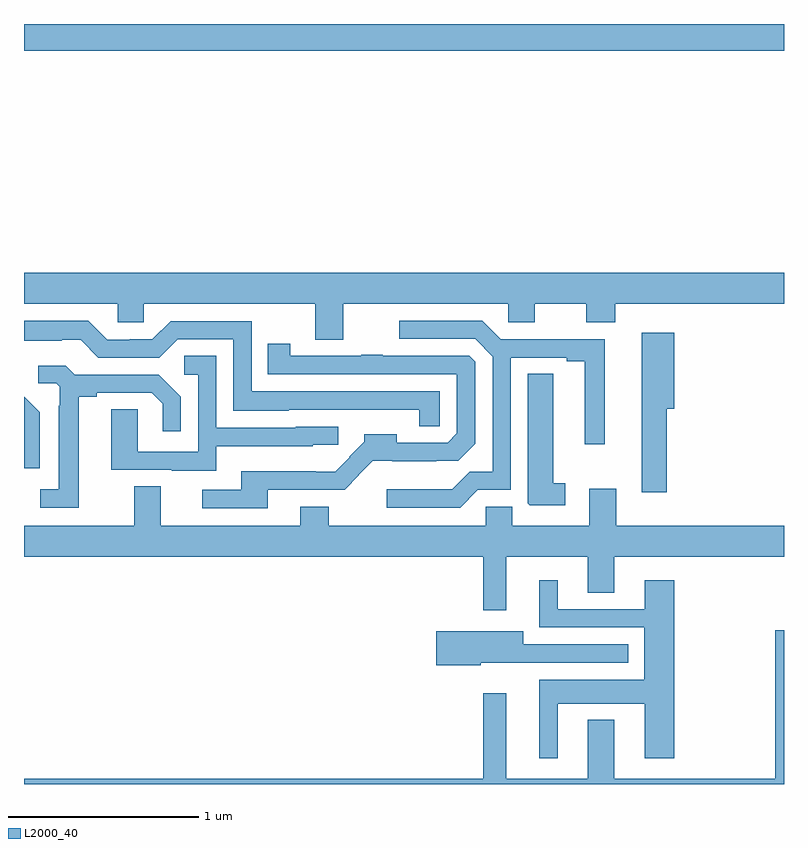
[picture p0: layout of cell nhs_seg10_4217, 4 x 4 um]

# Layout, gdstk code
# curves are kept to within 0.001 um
import gdstk
lib = gdstk.Library(unit=1e-6, precision=1e-09)
def R(c, l, rs):  # rectangles x0, y0, x1, y1
    for r in rs: c.add(gdstk.rectangle(r[:2], r[2:], *l))
def P(c, l, *ps):  # polygons
    for p in ps: c.add(gdstk.Polygon(p, *l))
L2000_40 = (2000, 40)

nhs_seg10_4217 = lib.new_cell('nhs_seg10_4217')
R(nhs_seg10_4217, L2000_40, [(347,1256.36,351,1256.5)])
P(nhs_seg10_4217, L2000_40, [(348.679,1255.028),(349.548,1255.028),(349.548,1254.93),(349.687,1254.93),(349.687,1255.028),(349.958,1255.028),(349.958,1254.929),(350.111,1254.929),(350.111,1255.028),(351,1255.028),(351,1255.192),(347,1255.192),(347,1255.028),(347.493,1255.028),(347.493,1254.93),(347.631,1254.93),(347.631,1255.028),(348.532,1255.028),(348.532,1254.838),(348.679,1254.838)],
  [(349.389,1254.048),(349.563,1254.048),(349.563,1254.744),(349.856,1254.744),(349.856,1254.724),(349.952,1254.724),(349.952,1254.288),(350.056,1254.288),(350.056,1254.84),(349.51,1254.84),(349.411,1254.939),(348.975,1254.939),(348.975,1254.843),(349.374,1254.843),(349.467,1254.75),(349.467,1254.143),(349.346,1254.143),(349.255,1254.052),(348.909,1254.052),(348.909,1253.955),(349.296,1253.955)],
  [(349.188,1254.567),(348.198,1254.567),(348.198,1254.936),(347.772,1254.936),(347.676,1254.84),(347.556,1254.84),(347.556,1254.837),(347.439,1254.837),(347.339,1254.937),(347,1254.937),(347,1254.833),(347.198,1254.833),(347.198,1254.837),(347.298,1254.837),(347.391,1254.744),(347.712,1254.744),(347.808,1254.84),(348.102,1254.84),(348.102,1254.464),(348.393,1254.464),(348.393,1254.471),(349.08,1254.47),(349.08,1254.382),(349.188,1254.382)],
  [(350.384,1254.476),(350.423,1254.476),(350.423,1254.874),(350.252,1254.874),(350.252,1254.036),(350.384,1254.036)],
  [(348.283,1254.048),(348.687,1254.048),(348.763,1254.125),(348.761,1254.127),(348.835,1254.201),(349.169,1254.2),(349.169,1254.202),(349.285,1254.202),(349.374,1254.291),(349.374,1254.723),(349.344,1254.753),(348.887,1254.753),(348.887,1254.758),(348.775,1254.758),(348.775,1254.753),(348.402,1254.753),(348.402,1254.817),(348.283,1254.817),(348.283,1254.657),(349.278,1254.657),(349.278,1254.345),(349.23,1254.297),(348.961,1254.297),(348.961,1254.34),(348.79,1254.34),(348.79,1254.301),(348.711,1254.222),(348.714,1254.219),(348.638,1254.143),(348.536,1254.143),(348.536,1254.145),(348.143,1254.145),(348.143,1254.048),(347.937,1254.048),(347.937,1253.952),(348.283,1253.952)],
  [(348.013,1254.278),(348.519,1254.278),(348.519,1254.285),(348.654,1254.285),(348.654,1254.381),(348.429,1254.381),(348.429,1254.375),(348.012,1254.375),(348.012,1254.755),(347.844,1254.755),(347.844,1254.654),(347.916,1254.654),(347.916,1254.249),(347.598,1254.249),(347.598,1254.473),(347.459,1254.473),(347.459,1254.153),(347.777,1254.153),(347.777,1254.149),(348.013,1254.149)],
  [(347.287,1254.538),(347.383,1254.538),(347.383,1254.558),(347.672,1254.558),(347.729,1254.501),(347.729,1254.357),(347.826,1254.357),(347.826,1254.538),(347.71,1254.654),(347.268,1254.654),(347.22,1254.701),(347.074,1254.701),(347.074,1254.609),(347.169,1254.609),(347.187,1254.591),(347.187,1254.491),(347.183,1254.491),(347.183,1254.051),(347.085,1254.051),(347.085,1253.955),(347.287,1253.955)],
  [(349.849,1254.083),(349.786,1254.083),(349.786,1254.659),(349.652,1254.659),(349.652,1253.977),(349.662,1253.967),(349.849,1253.967)],
  [(347.082,1254.456),(347,1254.538),(347,1254.162),(347.082,1254.162)],
  [(349.537,1253.696),(349.967,1253.696),(349.967,1253.506),(350.107,1253.506),(350.107,1253.696),(351,1253.696),(351,1253.86),(350.116,1253.86),(350.116,1254.055),(349.976,1254.055),(349.976,1253.86),(349.57,1253.86),(349.57,1253.958),(349.431,1253.958),(349.431,1253.86),(348.603,1253.86),(348.603,1253.959),(348.455,1253.959),(348.455,1253.86),(347.719,1253.86),(347.719,1254.068),(347.579,1254.068),(347.579,1253.86),(347,1253.86),(347,1253.696),(349.416,1253.696),(349.416,1253.415),(349.537,1253.415)],
  [(349.81,1252.922),(350.267,1252.922),(350.267,1252.635),(350.423,1252.635),(350.423,1253.572),(350.267,1253.572),(350.267,1253.421),(349.81,1253.421),(349.81,1253.572),(349.712,1253.572),(349.712,1253.325),(350.264,1253.325),(350.264,1253.05),(349.712,1253.05),(349.712,1252.635),(349.81,1252.635)],
  [(351,1253.308),(350.954,1253.308),(350.954,1252.528),(350.107,1252.528),(350.107,1252.837),(349.967,1252.837),(349.967,1252.528),(349.537,1252.528),(349.537,1252.978),(349.416,1252.978),(349.416,1252.528),(347,1252.528),(347,1252.5),(351,1252.5)],
  [(349.404,1253.138),(349.623,1253.138),(349.623,1253.139),(350.179,1253.139),(350.179,1253.235),(349.627,1253.235),(349.627,1253.304),(349.17,1253.304),(349.17,1253.126),(349.404,1253.126)])

lib.write_gds('nhs_seg10_4217.gds')
